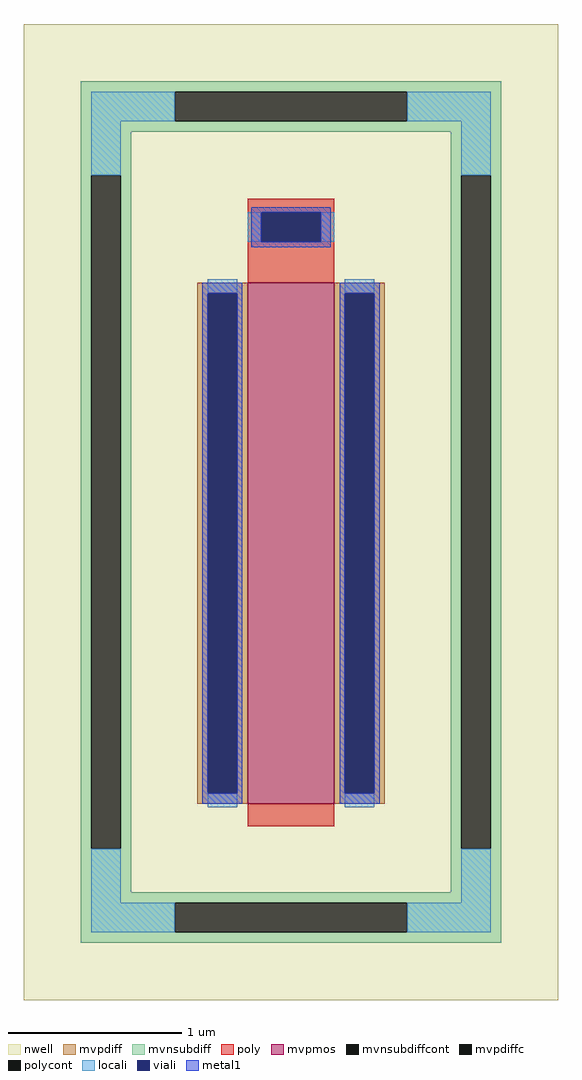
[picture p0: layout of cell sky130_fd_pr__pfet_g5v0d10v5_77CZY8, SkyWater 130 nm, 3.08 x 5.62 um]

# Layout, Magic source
magic
tech sky130A
magscale 1 2
<< nwell >>
rect -308 -562 308 562
<< mvpmos >>
rect -50 -336 50 264
<< mvpdiff >>
rect -108 252 -50 264
rect -108 -324 -96 252
rect -62 -324 -50 252
rect -108 -336 -50 -324
rect 50 252 108 264
rect 50 -324 62 252
rect 96 -324 108 252
rect 50 -336 108 -324
<< mvpdiffc >>
rect -96 -324 -62 252
rect 62 -324 96 252
<< mvnsubdiff >>
rect -242 484 242 496
rect -242 450 -134 484
rect 134 450 242 484
rect -242 438 242 450
rect -242 388 -184 438
rect -242 -388 -230 388
rect -196 -388 -184 388
rect 184 388 242 438
rect -242 -438 -184 -388
rect 184 -388 196 388
rect 230 -388 242 388
rect 184 -438 242 -388
rect -242 -450 242 -438
rect -242 -484 -134 -450
rect 134 -484 242 -450
rect -242 -496 242 -484
<< mvnsubdiffcont >>
rect -134 450 134 484
rect -230 -388 -196 388
rect 196 -388 230 388
rect -134 -484 134 -450
<< poly >>
rect -50 345 50 361
rect -50 311 -34 345
rect 34 311 50 345
rect -50 264 50 311
rect -50 -362 50 -336
<< polycont >>
rect -34 311 34 345
<< locali >>
rect -230 450 -134 484
rect 134 450 230 484
rect -230 388 -196 450
rect 196 388 230 450
rect -50 311 -34 345
rect 34 311 50 345
rect -96 252 -62 268
rect -96 -340 -62 -324
rect 62 252 96 268
rect 62 -340 96 -324
rect -230 -450 -196 -388
rect 196 -450 230 -388
rect -230 -484 -134 -450
rect 134 -484 230 -450
<< viali >>
rect -34 311 34 345
rect -96 -324 -62 252
rect 62 -324 96 252
<< metal1 >>
rect -46 345 46 351
rect -46 311 -34 345
rect 34 311 46 345
rect -46 305 46 311
rect -102 252 -56 264
rect -102 -324 -96 252
rect -62 -324 -56 252
rect -102 -336 -56 -324
rect 56 252 102 264
rect 56 -324 62 252
rect 96 -324 102 252
rect 56 -336 102 -324
<< properties >>
string FIXED_BBOX -213 -467 213 467
string gencell sky130_fd_pr__pfet_g5v0d10v5
string library sky130
string parameters w 3.0 l 0.5 m 1 nf 1 diffcov 100 polycov 100 guard 1 glc 1 grc 1 gtc 1 gbc 1 tbcov 100 rlcov 100 topc 1 botc 0 poverlap 0 doverlap 1 lmin 0.50 wmin 0.42 compatible {sky130_fd_pr__pfet_01v8  sky130_fd_pr__pfet_01v8_lvt sky130_fd_pr__pfet_01v8_hvt  sky130_fd_pr__pfet_g5v0d10v5} full_metal 1 viasrc 100 viadrn 100 viagate 100 viagb 0 viagr 0 viagl 0 viagt 0
<< end >>
